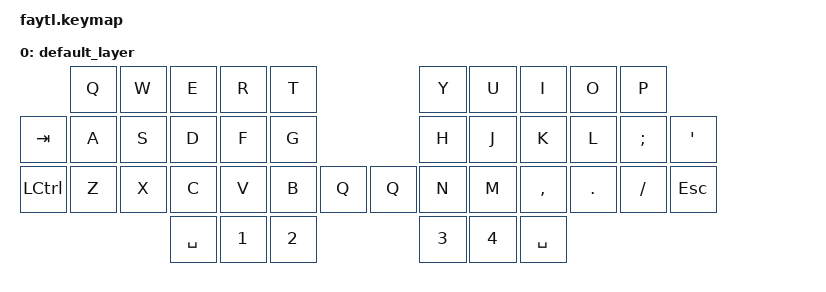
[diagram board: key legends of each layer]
/*
 * Copyright (c) 2026 Mike Chomitz
 *
 * SPDX-License-Identifier: MIT
 */
 
#include <behaviors.dtsi>
#include <dt-bindings/zmk/keys.h>

/ {
    keymap {
        compatible = "zmk,keymap";

        default_layer { // Layer 0
          bindings = <
        // LEFT SIDE                                                     ENCODERS          RIGHT SIDE
        //  outer  | pinky  |  ring  | middle  | index  | inner  | |                     | |  inner |  index | middle |   ring    |   pinky  |  outer
                     &kp Q    &kp W    &kp E     &kp R    &kp T                              &kp Y    &kp U    &kp I    &kp O       &kp P
           &kp TAB   &kp A    &kp S    &kp D     &kp F    &kp G                              &kp H    &kp J    &kp K    &kp L       &kp SEMI  &kp SQT
           &kp LCTRL &kp Z    &kp X    &kp C     &kp V    &kp B       &kp Q     &kp Q        &kp N    &kp M    &kp COMMA &kp PERIOD &kp SLASH &kp ESC
        //                                            THUMBS LEFT                       THUMBS RIGHT
        //                           |  inner  | middle | outer  | |                     | |  outer | middle |  inner |
                                       &kp SPACE &kp N1   &kp N2                             &kp N3   &kp N4   &kp SPACE
            >;
        };
    };
 };
